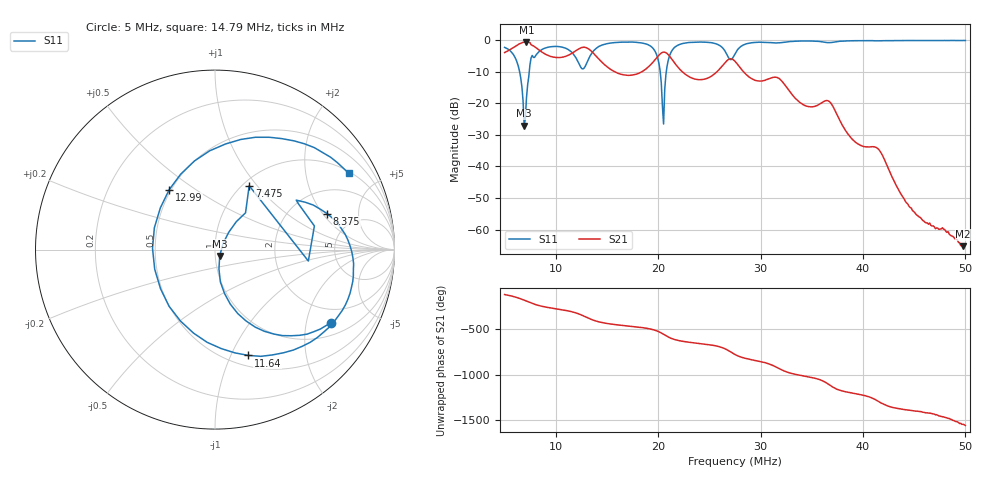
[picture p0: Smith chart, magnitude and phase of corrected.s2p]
! S11/S21 only; reverse parameters are placeholders. Device calibration unverified.
! [Saver CAL applied] C:\Users\aknya\MyProjects\rf-simulator\calibration2.cal | Ideal standards assumed | Input: NanoVNA F V2 profile | COM3 | 2026-09-08T11:29:12.6090905-04:00 | device calibration unverified
# HZ S RI R 50
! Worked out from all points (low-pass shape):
!   401 points, 5 MHz to 50 MHz, reference 50 ohm
!   highest |S21| = -0.63 dB at 7.138 MHz (marker M1); lowest = -65.2 dB at 49.77 MHz (marker M2)
!   |S21| within 3 dB of the highest: 5.216 MHz to 8.553 MHz (3.337 MHz wide, 48.5 % of centre); 11.86 MHz to 13.5 MHz (1.641 MHz wide, 12.9 % of centre)
!   lowest |S11| = -27.1 dB at 6.912 MHz (marker M3), VSWR 1.09, Z = 52.6 - j3.72 ohm
!   |S11| at or under -10 dB: 6.462 MHz to 7.409 MHz (946.9 kHz wide, 13.7 % of centre); 20.19 MHz to 20.79 MHz (598.8 kHz wide, 2.92 % of centre)
!   S12 and S22 are empty: the file has one direction only
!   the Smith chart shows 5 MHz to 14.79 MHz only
!   S11 on the Smith chart (normalised r, x): 5 MHz: 1.42, -2.79; 7.475 MHz: 1.07, +0.91; 8.375 MHz: 3.14, +2.21; 11.64 MHz: 0.61, -1.17; 12.99 MHz: 0.49, +0.40; 14.79 MHz: 1.08, +3.47
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5000000  0.6455 -0.4084  -0.3336 -0.537  0 0  0 0
6912500  0.0262 -0.0353  -0.9241 0.0559  0 0  0 0
7137500  0.0766 0.0967  -0.9038 0.2177  0 0  0 0
7475000  0.1906 0.3559  -0.7942 0.4396  0 0  0 0
8375000  0.6246 0.2007  -0.3127 0.6151  0 0  0 0
1.0175e7  0.7268 -0.3076  0.0993 0.5169  0 0  0 0
1.16375e7  0.1863 -0.5896  0.419 0.4626  0 0  0 0
1.25375e7  -0.336 -0.1091  0.7409 0.1646  0 0  0 0
1.29875e7  -0.2553 0.3338  0.7409 -0.1409  0 0  0 0
1.47875e7  0.7455 0.4245  0.109 -0.3876  0 0  0 0
1.81625e7  0.8506 -0.312  -0.1486 -0.261  0 0  0 0
2.0075e7  0.1239 -0.407  -0.5656 -0.1042  0 0  0 0
2.0525e7  0.0349 0.0313  -0.6147 0.1879  0 0  0 0
2.10875e7  0.439 0.3296  -0.3427 0.4426  0 0  0 0
2.26625e7  0.8955 -0.0403  0.0417 0.2828  0 0  0 0
2.58125e7  0.6942 -0.4889  0.275 0.1703  0 0  0 0
2.75e7  0.5967 -0.0996  0.2453 -0.3895  0 0  0 0
3.12125e7  0.7535 -0.4942  -0.2561 -0.00641  0 0  0 0
3.50375e7  0.6752 -0.6842  0.0571 0.0668  0 0  0 0
4.2575e7  0.4396 -0.8703  -0.000424 0.00846  0 0  0 0
4.9775e7  0.163 -0.9665  -0.000104 -0.00054  0 0  0 0
5e7  0.1558 -0.9674  -0.000243 -0.000541  0 0  0 0
